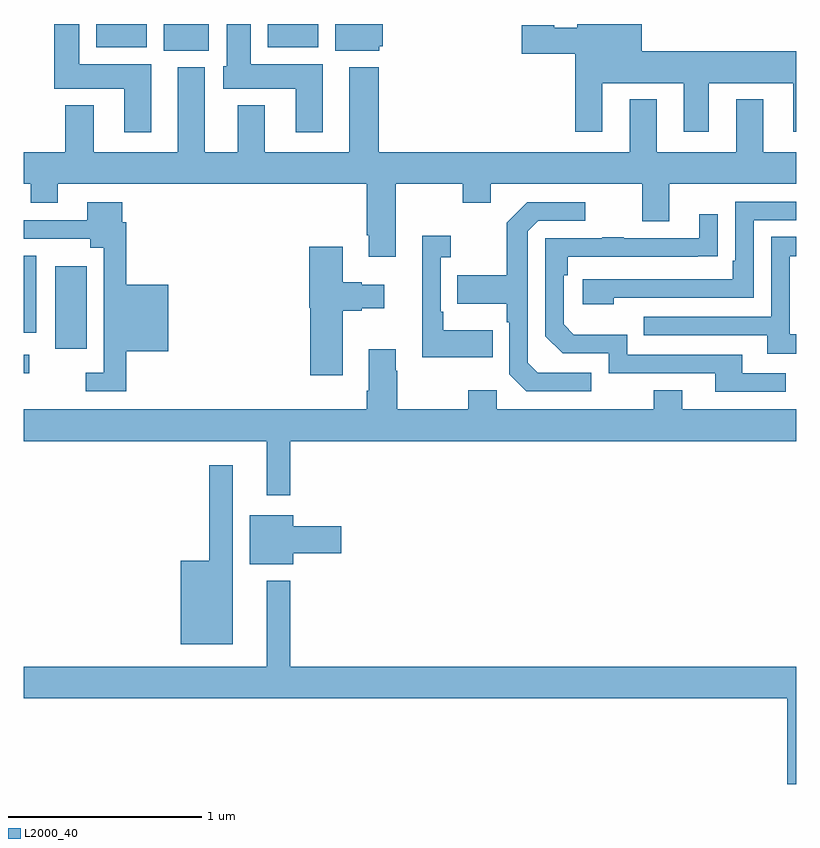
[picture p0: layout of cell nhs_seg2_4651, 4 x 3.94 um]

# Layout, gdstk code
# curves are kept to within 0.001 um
import gdstk
lib = gdstk.Library(unit=1e-6, precision=1e-09)
def R(c, l, rs):  # rectangles x0, y0, x1, y1
    for r in rs: c.add(gdstk.rectangle(r[:2], r[2:], *l))
def P(c, l, *ps):  # polygons
    for p in ps: c.add(gdstk.Polygon(p, *l))
L2000_40 = (2000, 40)

nhs_seg2_4651 = lib.new_cell('nhs_seg2_4651')
R(nhs_seg2_4651, L2000_40, [(363,643.992,363.028,644.088), (363.164,644.118,363.325,644.545), (363,644.201,363.064,644.599), (363.725,645.662,363.958,645.8), (363.374,645.68,363.637,645.8), (364.262,645.68,364.525,645.8)])
P(nhs_seg2_4651, L2000_40, [(365.995,645.494),(366.419,645.494),(366.419,645.243),(366.547,645.243),(366.547,645.494),(366.986,645.494),(366.986,645.243),(367,645.243),(367,645.658),(366.199,645.658),(366.199,645.8),(365.867,645.8),(365.867,645.781),(365.747,645.781),(365.747,645.794),(365.58,645.794),(365.58,645.647),(365.855,645.647),(365.855,645.243),(365.995,645.243)],
  [(364.842,645.684),(364.858,645.684),(364.858,645.798),(364.846,645.798),(364.846,645.8),(364.613,645.8),(364.613,645.662),(364.842,645.662)],
  [(364.549,645.592),(364.174,645.592),(364.174,645.8),(364.052,645.8),(364.052,645.582),(364.034,645.582),(364.034,645.464),(364.409,645.464),(364.409,645.24),(364.549,645.24)],
  [(363.661,645.592),(363.286,645.592),(363.286,645.8),(363.157,645.8),(363.157,645.464),(363.521,645.464),(363.521,645.24),(363.661,645.24)],
  [(363,644.972),(363.035,644.972),(363.035,644.873),(363.175,644.873),(363.175,644.972),(364.775,644.972),(364.775,644.707),(364.787,644.707),(364.787,644.595),(364.927,644.595),(364.927,644.972),(365.272,644.972),(365.272,644.873),(365.419,644.873),(365.419,644.972),(366.203,644.972),(366.203,644.778),(366.343,644.778),(366.343,644.972),(367,644.972),(367,645.136),(366.829,645.136),(366.829,645.409),(366.689,645.409),(366.689,645.136),(366.277,645.136),(366.277,645.409),(366.137,645.409),(366.137,645.136),(364.838,645.136),(364.838,645.577),(364.685,645.577),(364.685,645.136),(364.249,645.136),(364.249,645.379),(364.109,645.379),(364.109,645.136),(363.937,645.136),(363.937,645.577),(363.797,645.577),(363.797,645.136),(363.361,645.136),(363.361,645.379),(363.214,645.379),(363.214,645.136),(363,645.136)],
  [(366.056,644.382),(366.78,644.382),(366.78,644.784),(367,644.784),(367,644.88),(366.684,644.88),(366.684,644.575),(366.671,644.575),(366.671,644.478),(365.895,644.478),(365.895,644.348),(366.056,644.348)],
  [(363.53,644.105),(363.748,644.105),(363.748,644.449),(363.53,644.449),(363.53,644.774),(363.511,644.774),(363.511,644.878),(363.329,644.878),(363.329,644.784),(363,644.784),(363,644.688),(363.344,644.688),(363.344,644.642),(363.414,644.642),(363.414,644.345),(363.413,644.345),(363.413,643.995),(363.321,643.995),(363.321,643.899),(363.53,643.899)],
  [(365.938,643.995),(365.661,643.995),(365.61,644.046),(365.61,644.727),(365.664,644.781),(365.908,644.781),(365.908,644.877),(365.607,644.877),(365.502,644.771),(365.502,644.499),(365.245,644.499),(365.245,644.351),(365.502,644.351),(365.502,644.255),(365.514,644.255),(365.514,643.986),(365.601,643.899),(365.938,643.899)],
  [(366.946,643.992),(366.721,643.992),(366.721,644.088),(366.126,644.088),(366.126,644.191),(365.849,644.191),(365.796,644.244),(365.796,644.498),(365.816,644.498),(365.816,644.595),(366.593,644.596),(366.593,644.815),(366.497,644.815),(366.497,644.691),(366.107,644.691),(366.107,644.696),(365.995,644.696),(365.995,644.691),(365.7,644.691),(365.7,644.184),(365.79,644.094),(366.03,644.094),(366.03,643.992),(366.581,643.992),(366.581,643.896),(366.946,643.896)],
  [(365.429,644.215),(365.173,644.215),(365.173,644.311),(365.16,644.311),(365.16,644.591),(365.212,644.591),(365.212,644.704),(365.063,644.704),(365.063,644.075),(365.429,644.075)],
  [(367,644.193),(366.966,644.193),(366.966,644.598),(367,644.598),(367,644.699),(366.87,644.699),(366.87,644.283),(366.211,644.283),(366.211,644.187),(366.851,644.187),(366.851,644.093),(367,644.093)],
  [(364.651,644.315),(364.751,644.315),(364.751,644.327),(364.867,644.327),(364.867,644.449),(364.751,644.449),(364.751,644.462),(364.651,644.462),(364.651,644.647),(364.478,644.647),(364.478,644.331),(364.484,644.331),(364.484,643.98),(364.651,643.98)],
  [(364.381,643.64),(367,643.64),(367,643.804),(366.409,643.804),(366.409,643.903),(366.262,643.903),(366.262,643.804),(365.448,643.804),(365.448,643.903),(365.302,643.903),(365.302,643.804),(364.935,643.804),(364.935,644.003),(364.927,644.003),(364.927,644.116),(364.787,644.116),(364.787,643.9),(364.775,643.9),(364.775,643.804),(363,643.804),(363,643.64),(364.259,643.64),(364.259,643.359),(364.381,643.359)],
  [(364.081,643.516),(363.96,643.516),(363.96,643.021),(363.812,643.021),(363.812,642.587),(364.081,642.587)],
  [(364.396,643.058),(364.645,643.058),(364.645,643.2),(364.396,643.2),(364.396,643.255),(364.169,643.255),(364.169,643.001),(364.396,643.001)],
  [(367,642.472),(364.381,642.472),(364.381,642.916),(364.259,642.916),(364.259,642.472),(363,642.472),(363,642.308),(366.954,642.308),(366.954,641.864),(367,641.864)])

lib.write_gds('nhs_seg2_4651.gds')
